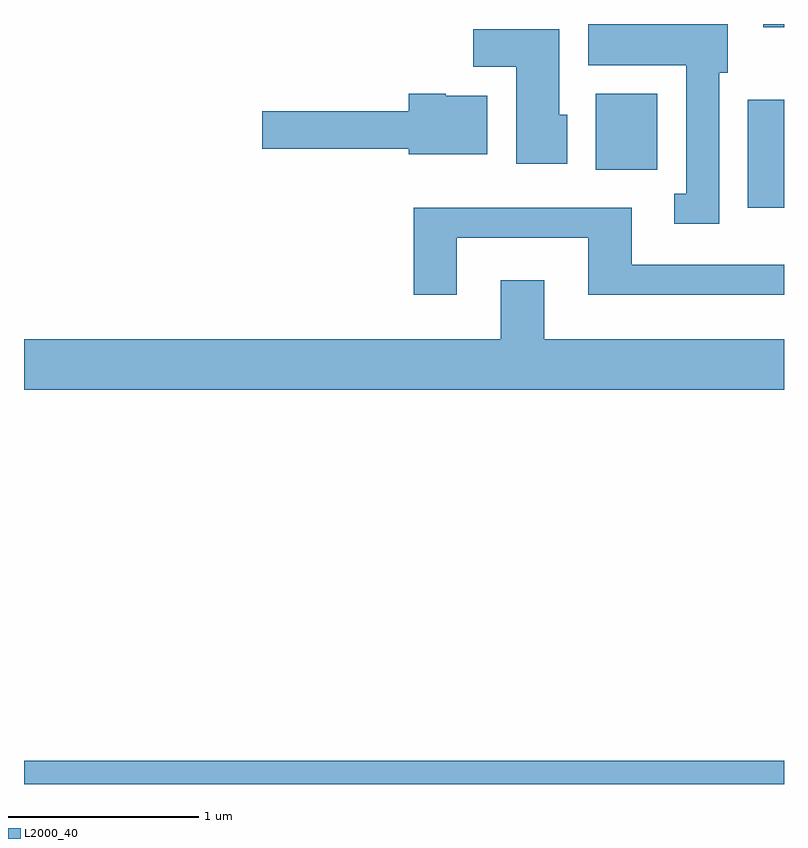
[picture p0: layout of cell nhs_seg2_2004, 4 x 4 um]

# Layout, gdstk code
import gdstk
lib = gdstk.Library(unit=1e-6, precision=1e-09)
def R(c, l, rs):  # rectangles x0, y0, x1, y1
    for r in rs: c.add(gdstk.rectangle(r[:2], r[2:], *l))
def P(c, l, *ps):  # polygons
    for p in ps: c.add(gdstk.Polygon(p, *l))
L2000_40 = (2000, 40)

nhs_seg2_2004 = lib.new_cell('nhs_seg2_2004')
R(nhs_seg2_2004, L2000_40, [(243.611,1041.802,247.611,1041.924), (247.421,1044.836,247.611,1045.404), (246.621,1045.036,246.944,1045.434), (247.501,1045.786,247.611,1045.802)])
P(nhs_seg2_2004, L2000_40, [(247.269,1045.546),(247.314,1045.546),(247.314,1045.802),(246.581,1045.802),(246.581,1045.586),(247.096,1045.586),(247.096,1044.909),(247.033,1044.909),(247.033,1044.751),(247.269,1044.751)],
  [(246.469,1045.324),(246.429,1045.324),(246.429,1045.774),(245.976,1045.774),(245.976,1045.576),(246.201,1045.576),(246.201,1045.066),(246.469,1045.066)],
  [(246.049,1045.424),(245.83,1045.424),(245.83,1045.434),(245.636,1045.434),(245.636,1045.344),(244.866,1045.344),(244.866,1045.146),(245.636,1045.146),(245.636,1045.116),(246.049,1045.116)],
  [(245.889,1044.676),(246.581,1044.676),(246.581,1044.376),(247.611,1044.376),(247.611,1044.534),(246.809,1044.534),(246.809,1044.834),(245.661,1044.834),(245.661,1044.376),(245.889,1044.376)],
  [(247.611,1044.144),(246.349,1044.144),(246.349,1044.454),(246.121,1044.454),(246.121,1044.144),(243.611,1044.144),(243.611,1043.876),(247.611,1043.876)])

lib.write_gds('nhs_seg2_2004.gds')
